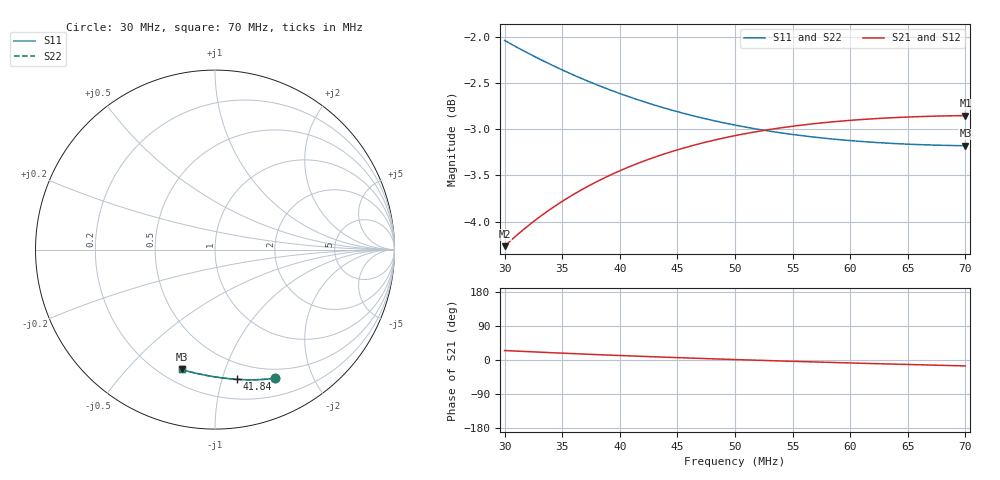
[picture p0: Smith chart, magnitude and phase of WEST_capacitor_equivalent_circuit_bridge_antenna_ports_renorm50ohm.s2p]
! Touchstone file exported from Circuit Design 2022.2.0
!  File:  C:/Users/JH218595/Documents/Modeling/WEST ICRH/WEST_ICRH_Capacitor.aedt
!  Generated:  9:24:23  mars 25, 2024
!  Design:  WEST_capacitor_equivalent_circuit_bridge_antenna_ports
!  Project:  WEST_ICRH_Capacitor
!  Setup:  LinearFrequency
!  Solution:  LinearFrequency
! Variables:
!  C = 50pF
!  C1 = 25.7pF
!  L = 2.99e-08H
!  L1 = 2.4e-09H
!  R0 = 0.01ohm
!  R1 = 0.01ohm
!  Z_bridge = 13.605332097045ohm
!  Z_strap = 46.6367556961698ohm
# GHz S MA R 50.000000
! Terminal data exported
! Port[1] = Port1
! Port[2] = Port2
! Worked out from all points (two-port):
!   4001 points, 30 MHz to 70 MHz, reference 50 ohm
!   highest |S21| = -2.85 dB at 70 MHz (marker M1); lowest = -4.3 dB at 30 MHz (marker M2)
!   |S21| within 3 dB of the highest: start of sweep to end of sweep
!   lowest |S11| = -3.2 dB at 70 MHz (marker M3), VSWR 5.52, Z = 14 - j36 ohm
!   |S11| at or under -10 dB: nowhere
!   |S22| runs from -3.2 to -2.0 dB; largest |S21 - S12| = 1.6e-15
!   S11 on the Smith chart (normalised r, x): 30 MHz: 0.39, -1.50; 41.84 MHz: 0.36, -1.12; 70 MHz: 0.28, -0.72
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0.03  0.7908 -65.0  0.6118 25.0  0.6118 25.0  0.7908 -65.0
! Gamma 0 0 0 0
! Port Impedance 50 0 50 0
0.03018  0.7896 -65.3  0.6133 24.7  0.6133 24.7  0.7896 -65.3
0.03196  0.7788 -67.8  0.627 22.1  0.627 22.1  0.7788 -67.8
0.03342  0.7705 -69.9  0.6371 20.1  0.6371 20.1  0.7705 -69.9
0.03503  0.7621 -72.0  0.6472 18.0  0.6472 18.0  0.7621 -72.0
0.03667  0.7542 -74.1  0.6564 15.9  0.6564 15.9  0.7542 -74.1
0.03793  0.7485 -75.7  0.6628 14.3  0.6628 14.3  0.7485 -75.7
0.03921  0.7432 -77.2  0.6687 12.8  0.6687 12.8  0.7432 -77.2
0.04051  0.7382 -78.8  0.6743 11.2  0.6743 11.2  0.7382 -78.8
0.04184  0.7334 -80.3  0.6794 9.7  0.6794 9.7  0.7334 -80.3
0.04334  0.7285 -82.0  0.6847 8.0  0.6847 8.0  0.7285 -82.0
0.04494  0.7237 -83.7  0.6898 6.3  0.6898 6.3  0.7237 -83.7
0.04658  0.7193 -85.4  0.6943 4.6  0.6943 4.6  0.7193 -85.4
0.04827  0.7152 -87.1  0.6985 2.9  0.6985 2.9  0.7152 -87.1
0.05  0.7116 -88.8  0.7023 1.2  0.7023 1.2  0.7116 -88.8
0.05324  0.7058 -91.9  0.708 -1.9  0.708 -1.9  0.7058 -91.9
0.05667  0.7012 -95.0  0.7126 -5.0  0.7126 -5.0  0.7012 -95.0
0.05991  0.698 -97.7  0.7157 -7.8  0.7157 -7.8  0.698 -97.7
0.06334  0.6956 -100.5  0.718 -10.5  0.718 -10.5  0.6956 -100.5
0.06711  0.6941 -103.4  0.7195 -13.5  0.7195 -13.5  0.6941 -103.4
0.06962  0.6935 -105.3  0.72 -15.3  0.72 -15.3  0.6935 -105.3
0.07  0.6935 -105.6  0.72 -15.6  0.72 -15.6  0.6935 -105.6
